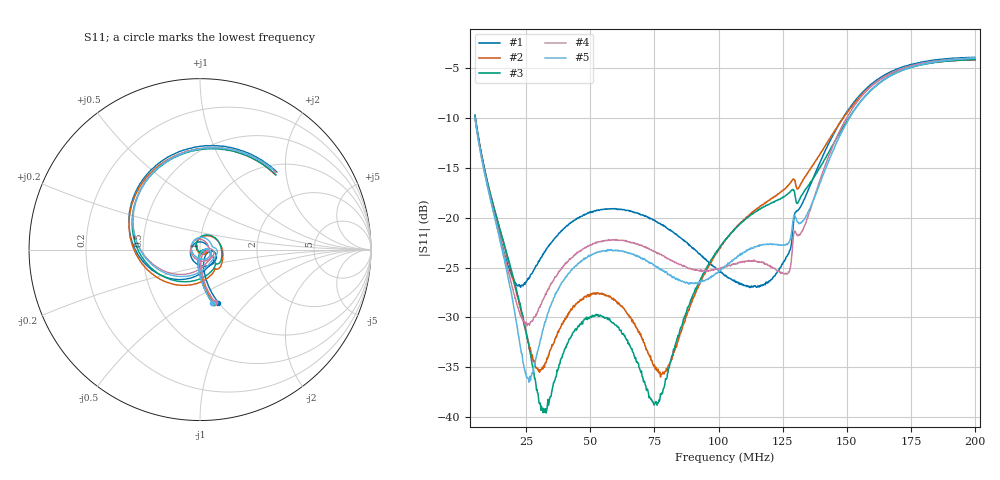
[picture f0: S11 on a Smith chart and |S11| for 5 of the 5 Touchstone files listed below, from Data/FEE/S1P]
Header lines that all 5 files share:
# Hz S DB R 50
! CMT, M5045, 22160017, 22.4.3/2
! Data: Format (Calibration Info)
! Freq	S11:dB/Ang(F1)
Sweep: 5 MHz to 200 MHz
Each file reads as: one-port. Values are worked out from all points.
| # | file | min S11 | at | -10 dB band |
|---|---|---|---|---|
| 1 | SN0531-B_S11_21Jan2023.s1p | -27.0 dB | 112.2 MHz | 143.3 MHz wide |
| 2 | SN0813-A_S11_21Jan2023.s1p | -36.0 dB | 77.34 MHz | 143.5 MHz wide |
| 3 | SN0819-A_S11_21Jan2023.s1p | -39.6 dB | 32.69 MHz | 145.7 MHz wide |
| 4 | SN0934-B_S11_21Jan2023.s1p | -30.8 dB | 25.28 MHz | 144.9 MHz wide |
| 5 | SN0952-B_S11_21Jan2023.s1p | -36.5 dB | 26.06 MHz | 146 MHz wide |
